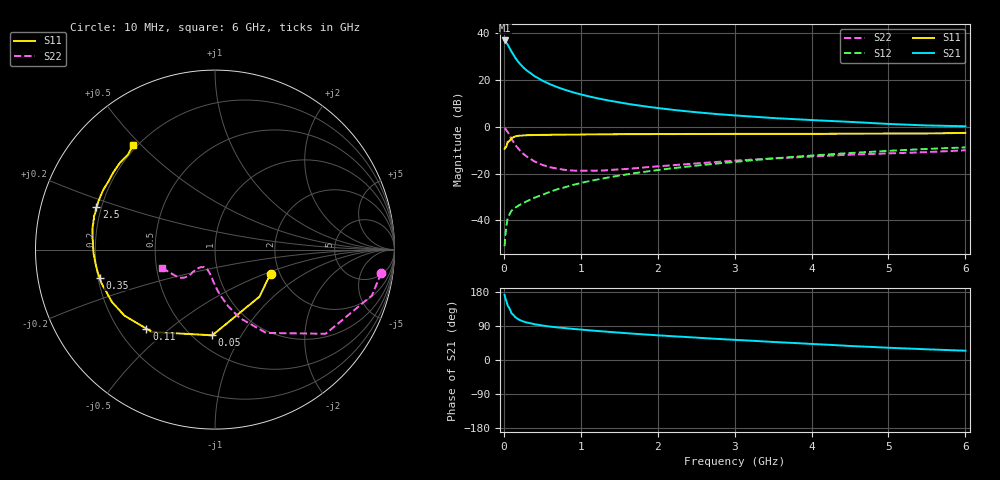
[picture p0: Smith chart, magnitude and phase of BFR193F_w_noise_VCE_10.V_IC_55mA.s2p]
! Infineon Technologies  Discrete & RF Semiconductors
! BFR193F
! VCE =  10. V,  IC =  55 mA
! Common Emitter S-Parameters:  Jan 2017
# GHz  S  MA  R  50
!  f  S11  S21  S12  S22
! GHz  MAG  ANG  MAG  ANG  MAG  ANG  MAG  ANG
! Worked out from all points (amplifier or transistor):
!   77 points, 10 MHz to 6 GHz, reference 50 ohm
!   highest |S21| = 36.9 dB at 10 MHz (marker M1)
!   |S21| within 3 dB of that: start of sweep to 70.47 MHz
!   unconditionally stable (mu >= 1): 842.1 MHz to 2.602 GHz
!   at 130 MHz: K = 0.45, MSG = 32.8 dB, |S12| = -35.0 dB
!   at 2.2 GHz: K = 1.02, MAG = 11.6 dB, |S12| = -17.7 dB
!   at 6 GHz: K = 0.84, MSG = 4.5 dB, |S12| = -8.8 dB
!   lowest NFmin = 1.56 dB at 450 MHz
!   S11 on the Smith chart (normalised r, x): 10 MHz: 1.79, -0.54; 50 MHz: 0.61, -0.76; 110 MHz: 0.31, -0.42; 350 MHz: 0.21, -0.11; 2.5 GHz: 0.18, +0.17; 6 GHz: 0.18, +0.47
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0.01  0.3373 -23.5  69.93 171.4  0.0028 85.2  0.935 -8.0
0.02  0.3609 -46.6  67.41 163.2  0.0048 72.0  0.9111 -16.3
0.05  0.4776 -91.8  57.19 143.5  0.0111 64.0  0.7743 -37.3
0.1  0.5778 -127.4  40.12 123.2  0.0161 53.0  0.5445 -58.5
0.11  0.5831 -130.9  37.92 121.6  0.0166 52.7  0.5152 -60.3
0.15  0.6244 -143.9  29.52 112.7  0.0187 51.8  0.405 -70.1
0.2  0.6443 -153.1  23.04 106.2  0.0211 51.1  0.3231 -77.0
0.25  0.6508 -159.5  18.76 101.9  0.0232 53.7  0.2651 -82.3
0.3  0.6597 -163.5  15.84 98.8  0.0256 55.6  0.2293 -86.4
0.35  0.662 -166.4  13.92 96.8  0.028 58.1  0.2046 -89.2
0.4  0.666 -169.2  12.02 94.2  0.0305 60.2  0.1806 -92.7
0.5  0.67 -173.0  9.684 91.0  0.0351 63.4  0.1532 -97.6
0.6  0.6731 -176.0  8.112 88.2  0.0406 65.6  0.136 -102.2
0.8  0.678 179.8  6.111 84.0  0.0513 69.0  0.1194 -110.4
1.1  0.6851 174.9  4.481 78.5  0.0682 71.7  0.1157 -119.2
1.5  0.693 169.9  3.316 72.2  0.0902 73.4  0.123 -127.5
2.1  0.6983 163.7  2.406 64.0  0.1243 73.7  0.1465 -133.0
2.5  0.7011 160.4  2.048 59.1  0.1472 73.2  0.1643 -134.1
3.1  0.7038 155.3  1.704 52.2  0.1834 72.4  0.1926 -134.6
4.1  0.7056 146.6  1.365 41.4  0.2485 68.8  0.235 -138.3
5.1  0.7167 136.7  1.131 31.5  0.3113 63.6  0.2726 -149.7
6  0.7395 128.3  1.026 24.5  0.3627 58.4  0.3142 -161.3
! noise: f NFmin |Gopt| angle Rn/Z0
0.45  1.56  0.48  -179  0.07
0.9  1.64  0.49  -177  0.08
1.9  2.22  0.6  -163  0.1
2.4  2.54  0.62  -155  0.16
